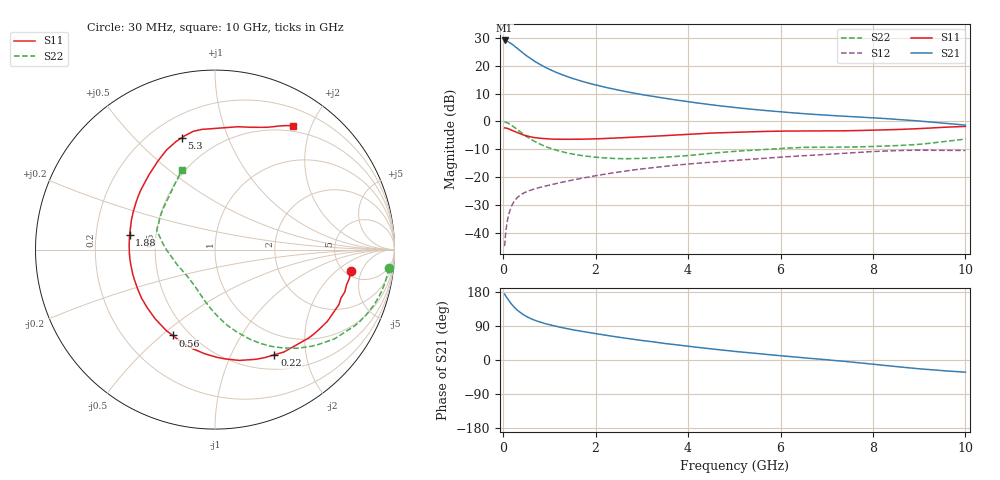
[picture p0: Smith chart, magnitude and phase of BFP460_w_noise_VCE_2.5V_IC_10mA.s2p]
! (c) 2016  Infineon Technologies AG, Munich
! Infineon Technologies  Discrete & RF Semiconductors
! BFP460
! VCE =  2.5 V,  IC =  10 mA
! Common Emitter S-Parameters:  Jan 2016
# GHz  S  MA  R  50
!  f  S11  S21  S12  S22
! GHz  MAG  ANG  MAG  ANG  MAG  ANG  MAG  ANG
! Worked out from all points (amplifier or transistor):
!   229 points, 30 MHz to 10 GHz, reference 50 ohm
!   highest |S21| = 29.1 dB at 30 MHz (marker M1)
!   |S21| within 3 dB of that: start of sweep to 315.7 MHz
!   unconditionally stable (mu >= 1): 2.436 GHz to 7.875 GHz
!   at 280 MHz: K = 0.27, MSG = 27.2 dB, |S12| = -27.9 dB
!   at 1.78 GHz: K = 0.93, MSG = 17.1 dB, |S12| = -20.2 dB
!   at 10 GHz: K = 0.97, MSG = 4.6 dB, |S12| = -10.5 dB
!   lowest NFmin = 0.95 dB at 450 MHz
!   S11 on the Smith chart (normalised r, x): 30 MHz: 5.58, -3.27; 220 MHz: 0.69, -1.48; 560 MHz: 0.41, -0.54; 1.88 GHz: 0.35, +0.08; 5.3 GHz: 0.32, +0.69; 10 GHz: 0.42, +1.73
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0.03  0.7658 -9.1  28.62 174.2  0.0057 85.7  0.9741 -6.1
0.07  0.7521 -21.0  28.13 165.8  0.0128 79.8  0.9569 -14.0
0.12  0.7353 -35.5  26.82 157.2  0.0213 73.1  0.9167 -23.5
0.15  0.7171 -43.5  25.85 152.1  0.0259 69.4  0.8864 -28.7
0.2  0.6879 -56.0  24.22 144.5  0.0324 64.1  0.8307 -36.8
0.22  0.6732 -60.5  23.48 141.9  0.0345 62.2  0.8063 -39.5
0.3  0.6324 -77.6  20.78 131.9  0.0423 56.2  0.7166 -50.1
0.4  0.5844 -95.2  17.75 122.3  0.0491 51.1  0.6181 -60.4
0.48  0.5558 -106.6  15.74 116.3  0.0532 48.4  0.5536 -66.8
0.56  0.5332 -116.3  14.1 111.5  0.0567 46.7  0.5008 -72.2
0.72  0.5064 -132.5  11.52 103.2  0.0626 44.8  0.4197 -81.6
1  0.4837 -152.9  8.65 92.9  0.0717 44.0  0.3326 -93.6
1.3  0.4771 -168.3  6.796 84.6  0.0815 44.3  0.2813 -103.4
1.7  0.4791 176.1  5.283 75.6  0.095 44.4  0.2434 -114.2
1.88  0.4825 170.2  4.802 71.9  0.1013 44.2  0.2329 -118.7
2.6  0.5107 150.2  3.506 58.3  0.1266 42.1  0.2137 -137.3
3.4  0.5495 133.3  2.681 45.3  0.1531 37.8  0.2246 -156.4
5.1  0.6429 108.8  1.746 21.7  0.2015 28.2  0.2933 173.1
5.3  0.6494 106.7  1.68 19.5  0.2075 27.1  0.2997 171.1
6.8  0.6733 93.3  1.326 2.8  0.2496 17.8  0.3426 160.5
8.4  0.7093 73.9  1.106 -16.1  0.2966 4.9  0.364 144.2
10  0.815 58.0  0.858 -32.1  0.3001 -7.3  0.4811 112.5
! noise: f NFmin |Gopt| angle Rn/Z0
0.45  0.95  0.14  16  0.15
0.9  1.19  0.11  57  0.14
1.9  1.15  0.07  152  0.12
3.5  1.18  0.34  -137  0.11
